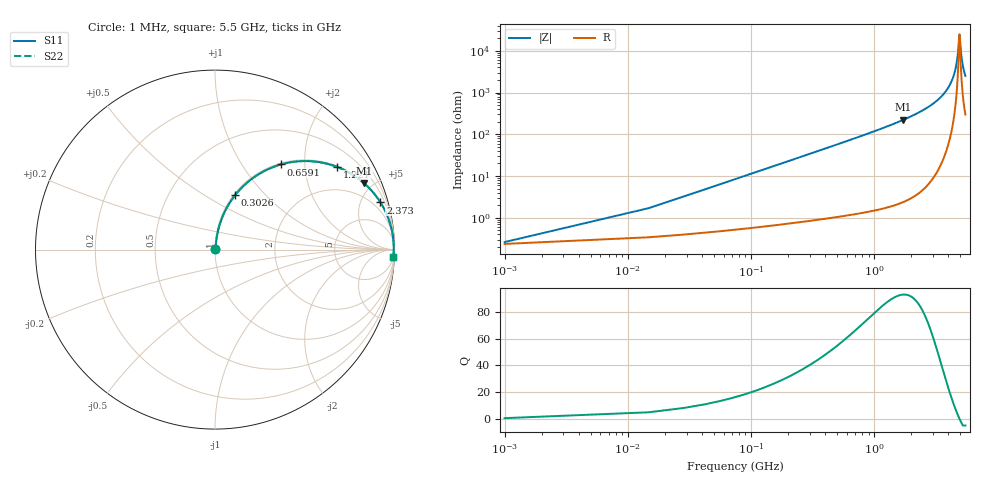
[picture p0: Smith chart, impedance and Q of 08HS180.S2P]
! Coilcraft 0805HS-180 Chip Inductor
! 13 June 2002
# MHZ S MA R 50
!Freq  MagS11  AngS11  MagS21  AngS21  MagS12  AngS12  MagS22  AngS22
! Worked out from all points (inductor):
!   403 points, 1 MHz to 5.5 GHz, reference 50 ohm
!   read as one part in series: L = 18 nH near 28.42 MHz
!   highest Q = 93.2 at 1.728 GHz (marker M1), where L = 20.5 nH
!   self-resonance near 4.923 GHz
!   S11 on the Smith chart (normalised r, x): 1 MHz: 1.00, +0.00; 302.6 MHz: 1.02, +0.69; 659.1 MHz: 1.02, +1.52; 1.221 GHz: 1.03, +2.94; 2.373 GHz: 1.08, +6.99; 5.5 GHz: 7, -50
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1  0.002619 25.5  0.9976 -0.1  0.9976 -0.1  0.002619 25.5
42.13  0.04759 82.0  0.9945 -2.7  0.9945 -2.7  0.04759 82.0
83.26  0.09343 81.4  0.9903 -5.4  0.9903 -5.4  0.09343 81.4
165.52  0.1831 77.4  0.9765 -10.5  0.9765 -10.5  0.1831 77.4
302.62  0.3226 69.8  0.9386 -18.8  0.9386 -18.8  0.3226 69.8
659.08  0.6001 52.2  0.7906 -36.9  0.7906 -36.9  0.6001 52.2
919.57  0.7283 42.5  0.6758 -46.7  0.6758 -46.7  0.7283 42.5
1221.19  0.8227 34.0  0.559 -55.3  0.559 -55.3  0.8227 34.0
1728.46  0.9088 24.1  0.4076 -65.3  0.4076 -65.3  0.9088 24.1
1838.14  0.9204 22.4  0.3811 -67.0  0.3811 -67.0  0.9204 22.4
2372.83  0.9584 15.9  0.2743 -73.4  0.2743 -73.4  0.9584 15.9
2756.71  0.9737 12.4  0.2145 -76.8  0.2145 -76.8  0.9737 12.4
3675.28  0.9913 6.1  0.1058 -82.3  0.1058 -82.3  0.9913 6.1
4237.39  0.9951 3.1  0.05412 -83.3  0.05412 -83.3  0.9951 3.1
4593.85  0.996 1.4  0.02528 -80.1  0.02528 -80.1  0.996 1.4
4758.37  0.9961 0.7  0.013 -72.0  0.013 -72.0  0.9961 0.7
4922.89  0.996 0.0  0.004045 -3.7  0.004045 -3.7  0.996 0.0
4964.02  0.9959 -0.2  0.0049 33.5  0.0049 33.5  0.9959 -0.2
5073.7  0.9957 -0.6  0.01133 67.6  0.01133 67.6  0.9957 -0.6
5169.67  0.9955 -1.0  0.01775 75.0  0.01775 75.0  0.9955 -1.0
5320.48  0.9951 -1.6  0.02786 79.2  0.02786 79.2  0.9951 -1.6
5500  0.9945 -2.3  0.03966 80.9  0.03966 80.9  0.9945 -2.3
